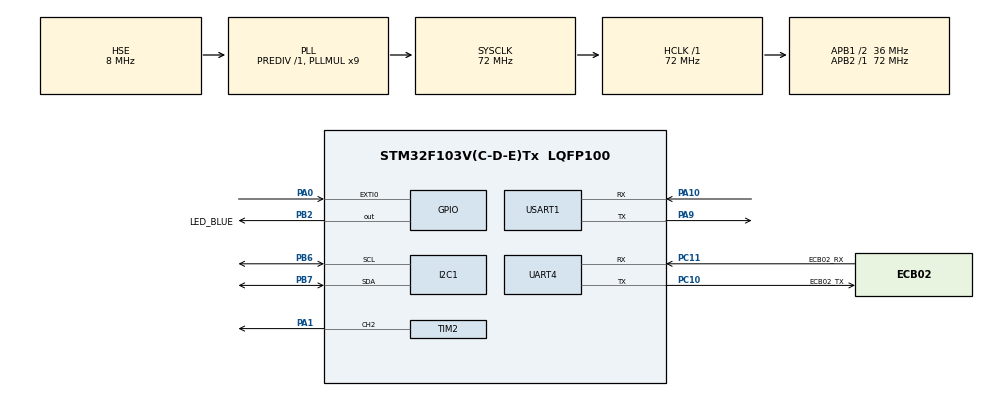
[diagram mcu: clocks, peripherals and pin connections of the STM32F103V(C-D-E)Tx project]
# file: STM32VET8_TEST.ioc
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Mcu.Family=STM32F1
Mcu.Name=STM32F103V(C-D-E)Tx
Mcu.Package=LQFP100
NVIC.EXTI0_IRQn=true\:0\:0\:false\:false\:true\:true\:true\:true
NVIC.PriorityGroup=NVIC_PRIORITYGROUP_4
NVIC.TIM2_IRQn=true\:0\:0\:false\:false\:true\:true\:true\:true
NVIC.UART4_IRQn=true\:0\:0\:false\:false\:true\:true\:true\:true
NVIC.USART1_IRQn=true\:0\:0\:false\:false\:true\:true\:true\:true
OSC_IN.Mode=HSE-External-Oscillator
OSC_IN.Signal=RCC_OSC_IN
OSC_OUT.Mode=HSE-External-Oscillator
OSC_OUT.Signal=RCC_OSC_OUT
PA0-WKUP.Signal=GPXTI0
PA1.Signal=S_TIM2_CH2
PA10.Mode=Asynchronous
PA10.Signal=USART1_RX
PA13.Mode=Serial_Wire
PA13.Signal=SYS_JTMS-SWDIO
PA14.Mode=Serial_Wire
PA14.Signal=SYS_JTCK-SWCLK
PA9.Mode=Asynchronous
PA9.Signal=USART1_TX
PB2.GPIO_Label=LED_BLUE
PB2.Signal=GPIO_Output
PB6.Mode=I2C
PB6.Signal=I2C1_SCL
PB7.Mode=I2C
PB7.Signal=I2C1_SDA
PC10.GPIO_Label=ECB02_TX
PC10.Mode=Asynchronous
PC10.Signal=UART4_TX
PC11.GPIO_Label=ECB02_RX
PC11.Mode=Asynchronous
PC11.Signal=UART4_RX
ProjectManager.HeapSize=0x200
ProjectManager.StackSize=0x400
ProjectManager.TargetToolchain=MDK-ARM V5.32
RCC.AHBFreq_Value=72000000
RCC.APB1CLKDivider=RCC_HCLK_DIV2
RCC.APB1Freq_Value=36000000
RCC.APB1TimFreq_Value=72000000
RCC.APB2Freq_Value=72000000
RCC.APB2TimFreq_Value=72000000
RCC.HCLKFreq_Value=72000000
RCC.PLLMUL=RCC_PLL_MUL9
RCC.PLLSourceVirtual=RCC_PLLSOURCE_HSE
RCC.SYSCLKFreq_VALUE=72000000
RCC.SYSCLKSource=RCC_SYSCLKSOURCE_PLLCLK
RCC.USBFreq_Value=72000000
SH.S_TIM2_CH2.0=TIM2_CH2,PWM Generation2 CH2
TIM2.AutoReloadPreload=TIM_AUTORELOAD_PRELOAD_ENABLE
TIM2.Channel-PWM\ Generation2\ CH2=TIM_CHANNEL_2
TIM2.OCPolarity_2=TIM_OCPOLARITY_LOW
TIM2.Period=99
TIM2.Prescaler=7199
UART4.VirtualMode=Asynchronous
USART1.VirtualMode=VM_ASYNC
VP_TIM2_VS_ClockSourceINT.Mode=Internal
board=custom

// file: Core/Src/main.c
/* USER CODE BEGIN Header */
/**
  ******************************************************************************
  * @file           : main.c
  * @brief          : Main program body
  ******************************************************************************
  * @attention
  *
  * Copyright (c) 2024 STMicroelectronics.
  * All rights reserved.
  *
  * This software is licensed under terms that can be found in the LICENSE file
  * in the root directory of this software component.
  * If no LICENSE file comes with this software, it is provided AS-IS.
  *
  ******************************************************************************
  */
/* USER CODE END Header */
#include "main.h"
#include "i2c.h"
#include "tim.h"
#include "usart.h"
#include "gpio.h"

/* USER CODE BEGIN Includes */
#include <stdio.h>

#include "OLED.h"
/* USER CODE END Includes */

void SystemClock_Config(void);

/* USER CODE BEGIN 0 */
uint8_t temp=0;
int fputc(int ch,FILE* f)
{
	uint8_t temp={ch};
	HAL_UART_Transmit(&huart1,&temp,1,500);
	return ch;
}
void HAL_TIM_PeriodElapsedCallback(TIM_HandleTypeDef* htim){
	temp++;

}

void HAL_GPIO_EXTI_Callback(uint16_t GPIO_Pin)
{
	printf("111");
//	static uint8_t Flag=0;
//	if(Flag)
//		{
//			HAL_TIM_PWM_Start(&htim2,TIM_CHANNEL_2);
//			Flag=0;
//
//		}
//	else
//		{
//			HAL_TIM_PWM_Stop(&htim2,TIM_CHANNEL_2);
//			Flag=1;
//		}
//

}

/* USER CODE END 0 */

int main(void)
{

  /* MCU Configuration--------------------------------------------------------*/

  /* Reset of all peripherals, Initializes the Flash interface and the Systick. */
  HAL_Init();

  /* Configure the system clock */
  SystemClock_Config();

  /* Initialize all configured peripherals */
  MX_GPIO_Init();
  MX_USART1_UART_Init();
  MX_I2C1_Init();
  MX_TIM2_Init();
  MX_UART4_Init();
  /* USER CODE BEGIN 2 */

  	OLED_Init();
	HAL_TIM_PWM_Start(&htim2,TIM_CHANNEL_2);

	uint8_t test[]="start\r\n";
	HAL_UART_Transmit(&huart1,test,8,50);

	HAL_TIM_Base_Start_IT(&htim2);

	//HAL_I2C_Master_Receive(&hi2c1,0x,&temp,1,5000);
  /* USER CODE END 2 */

  /* Infinite loop */
  while (1)
  {

    /* USER CODE BEGIN 3 */

	   OLED_ShowNum(1,1,temp,8);
	  HAL_GPIO_WritePin(LED_BLUE_GPIO_Port,LED_BLUE_Pin,GPIO_PIN_SET);

  }
  /* USER CODE END 3 */
}

void SystemClock_Config(void)
{
  RCC_OscInitTypeDef RCC_OscInitStruct = {0};
  RCC_ClkInitTypeDef RCC_ClkInitStruct = {0};

  /** Initializes the RCC Oscillators according to the specified parameters
  * in the RCC_OscInitTypeDef structure.
  */
  RCC_OscInitStruct.OscillatorType = RCC_OSCILLATORTYPE_HSE;
  RCC_OscInitStruct.HSEState = RCC_HSE_ON;
  RCC_OscInitStruct.HSEPredivValue = RCC_HSE_PREDIV_DIV1;
  RCC_OscInitStruct.HSIState = RCC_HSI_ON;
  RCC_OscInitStruct.PLL.PLLState = RCC_PLL_ON;
  RCC_OscInitStruct.PLL.PLLSource = RCC_PLLSOURCE_HSE;
  RCC_OscInitStruct.PLL.PLLMUL = RCC_PLL_MUL9;
  if (HAL_RCC_OscConfig(&RCC_OscInitStruct) != HAL_OK)
  {
    Error_Handler();
  }

  /** Initializes the CPU, AHB and APB buses clocks
  */
  RCC_ClkInitStruct.ClockType = RCC_CLOCKTYPE_HCLK|RCC_CLOCKTYPE_SYSCLK
                              |RCC_CLOCKTYPE_PCLK1|RCC_CLOCKTYPE_PCLK2;
  RCC_ClkInitStruct.SYSCLKSource = RCC_SYSCLKSOURCE_PLLCLK;
  RCC_ClkInitStruct.AHBCLKDivider = RCC_SYSCLK_DIV1;
  RCC_ClkInitStruct.APB1CLKDivider = RCC_HCLK_DIV2;
  RCC_ClkInitStruct.APB2CLKDivider = RCC_HCLK_DIV1;

  if (HAL_RCC_ClockConfig(&RCC_ClkInitStruct, FLASH_LATENCY_2) != HAL_OK)
  {
    Error_Handler();
  }
}

void Error_Handler(void)
{
  __disable_irq();
  while (1)
  {
  }
}
